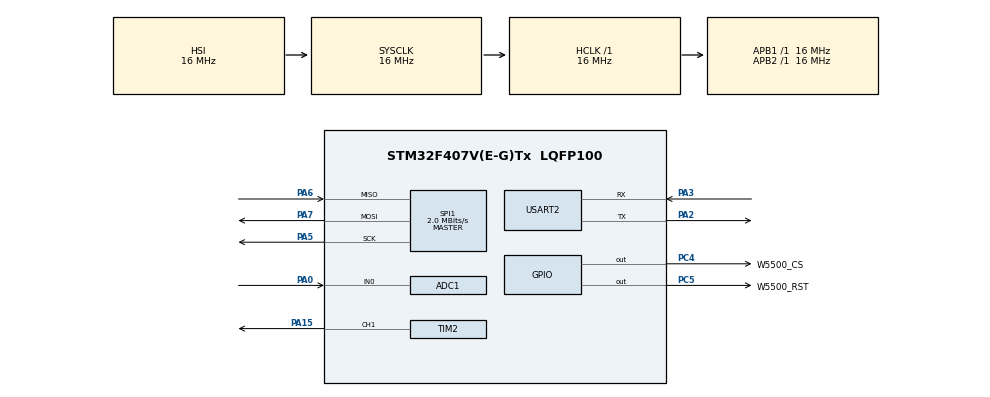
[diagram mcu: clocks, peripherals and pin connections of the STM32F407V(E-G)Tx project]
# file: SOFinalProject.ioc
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ADC1.Channel-1\#ChannelRegularConversion=ADC_CHANNEL_0
ADC1.NbrOfConversionFlag=1
ADC1.Rank-1\#ChannelRegularConversion=1
ADC1.SamplingTime-1\#ChannelRegularConversion=ADC_SAMPLETIME_3CYCLES
ADC1.master=1
FREERTOS.Tasks01=defaultTask,0,128,StartDefaultTask,Default,NULL,Dynamic,NULL,NULL
Mcu.Family=STM32F4
Mcu.Name=STM32F407V(E-G)Tx
Mcu.Package=LQFP100
NVIC.PriorityGroup=NVIC_PRIORITYGROUP_4
PA0-WKUP.Signal=ADCx_IN0
PA15.Signal=S_TIM2_CH1_ETR
PA2.Mode=Asynchronous
PA2.Signal=USART2_TX
PA3.Mode=Asynchronous
PA3.Signal=USART2_RX
PA5.Mode=Full_Duplex_Master
PA5.Signal=SPI1_SCK
PA6.Mode=Full_Duplex_Master
PA6.Signal=SPI1_MISO
PA7.Mode=Full_Duplex_Master
PA7.Signal=SPI1_MOSI
PC4.GPIO_Label=W5500_CS
PC4.Signal=GPIO_Output
PC5.GPIO_Label=W5500_RST
PC5.Signal=GPIO_Output
ProjectManager.HeapSize=0x200
ProjectManager.StackSize=0x400
ProjectManager.TargetToolchain=STM32CubeIDE
RCC.AHBFreq_Value=16000000
RCC.APB1Freq_Value=16000000
RCC.APB2Freq_Value=16000000
RCC.CortexFreq_Value=16000000
RCC.HSE_VALUE=25000000
RCC.HSI_VALUE=16000000
RCC.LSE_VALUE=32768
RCC.SYSCLKFreq_VALUE=16000000
RCC.VCOOutputFreq_Value=192000000
SH.ADCx_IN0.0=ADC1_IN0,IN0
SH.S_TIM2_CH1_ETR.0=TIM2_CH1,PWM Generation1 CH1
SPI1.BaudRatePrescaler=SPI_BAUDRATEPRESCALER_8
SPI1.CalculateBaudRate=2.0 MBits/s
SPI1.Direction=SPI_DIRECTION_2LINES
SPI1.Mode=SPI_MODE_MASTER
SPI1.VirtualType=VM_MASTER
TIM2.Channel-PWM\ Generation1\ CH1=TIM_CHANNEL_1
USART2.VirtualMode=VM_ASYNC
VP_FREERTOS_VS_CMSIS_V1.Mode=CMSIS_V1
board=custom

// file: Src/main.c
/* USER CODE BEGIN Header */
/**
  ******************************************************************************
  * @file           : main.c
  * @brief          : Main program body
  ******************************************************************************
  * @attention
  *
  * Copyright (c) 2025 STMicroelectronics.
  * All rights reserved.
  *
  * This software is licensed under terms that can be found in the LICENSE file
  * in the root directory of this software component.
  * If no LICENSE file comes with this software, it is provided AS-IS.
  *
  ******************************************************************************
  */
/* USER CODE END Header */
#include "main.h"
#include "cmsis_os.h"
#include "adc.h"
#include "spi.h"
#include "tim.h"
#include "usart.h"
#include "gpio.h"

void SystemClock_Config(void);
void MX_FREERTOS_Init(void);

int main(void)
{

  /* MCU Configuration--------------------------------------------------------*/

  /* Reset of all peripherals, Initializes the Flash interface and the Systick. */
  HAL_Init();

  /* USER CODE BEGIN Init */
  // don't buffer the output of printf
  //setbuf(stdout, NULL);
  /* USER CODE END Init */

  /* Configure the system clock */
  SystemClock_Config();

  /* Initialize all configured peripherals */
  MX_GPIO_Init();
  MX_ADC1_Init();
  MX_SPI1_Init();
  MX_TIM2_Init();
  MX_USART2_UART_Init();

  /* Call init function for freertos objects (in cmsis_os2.c) */
  MX_FREERTOS_Init();

  /* Start scheduler */
  osKernelStart();

  /* We should never get here as control is now taken by the scheduler */

  /* Infinite loop */
  while (1)
  {

  }
}

void SystemClock_Config(void)
{
  RCC_OscInitTypeDef RCC_OscInitStruct = {0};
  RCC_ClkInitTypeDef RCC_ClkInitStruct = {0};

  /** Configure the main internal regulator output voltage
  */
  __HAL_RCC_PWR_CLK_ENABLE();
  __HAL_PWR_VOLTAGESCALING_CONFIG(PWR_REGULATOR_VOLTAGE_SCALE1);

  /** Initializes the RCC Oscillators according to the specified parameters
  * in the RCC_OscInitTypeDef structure.
  */
  RCC_OscInitStruct.OscillatorType = RCC_OSCILLATORTYPE_HSI;
  RCC_OscInitStruct.HSIState = RCC_HSI_ON;
  RCC_OscInitStruct.HSICalibrationValue = RCC_HSICALIBRATION_DEFAULT;
  RCC_OscInitStruct.PLL.PLLState = RCC_PLL_NONE;
  if (HAL_RCC_OscConfig(&RCC_OscInitStruct) != HAL_OK)
  {
    Error_Handler();
  }

  /** Initializes the CPU, AHB and APB buses clocks
  */
  RCC_ClkInitStruct.ClockType = RCC_CLOCKTYPE_HCLK|RCC_CLOCKTYPE_SYSCLK
                              |RCC_CLOCKTYPE_PCLK1|RCC_CLOCKTYPE_PCLK2;
  RCC_ClkInitStruct.SYSCLKSource = RCC_SYSCLKSOURCE_HSI;
  RCC_ClkInitStruct.AHBCLKDivider = RCC_SYSCLK_DIV1;
  RCC_ClkInitStruct.APB1CLKDivider = RCC_HCLK_DIV1;
  RCC_ClkInitStruct.APB2CLKDivider = RCC_HCLK_DIV1;

  if (HAL_RCC_ClockConfig(&RCC_ClkInitStruct, FLASH_LATENCY_0) != HAL_OK)
  {
    Error_Handler();
  }
}

void Error_Handler(void)
{
  __disable_irq();
  while (1)
  {
  }
}

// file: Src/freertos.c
/* USER CODE BEGIN Header */
/**
  ******************************************************************************
  * File Name          : freertos.c
  * Description        : Code for freertos applications
  ******************************************************************************
  * @attention
  *
  * Copyright (c) 2024 STMicroelectronics.
  * All rights reserved.
  *
  * This software is licensed under terms that can be found in the LICENSE file
  * in the root directory of this software component.
  * If no LICENSE file comes with this software, it is provided AS-IS.
  *
  ******************************************************************************
  */
/* USER CODE END Header */

#include "FreeRTOS.h"
#include "task.h"
#include "main.h"
#include "cmsis_os.h"

/* USER CODE BEGIN Includes */
#include "wizchip_conf.h"
#include "socket.h"
#include <stdio.h>
#include <string.h>
#include <stdlib.h> // <-- FIX: Adicionado para a função atoi()

/* USER CODE END Includes */

/* USER CODE BEGIN PTD */

// Handles para as Queues do FreeRTOS
QueueHandle_t dutyCycleQueueHandle;
QueueHandle_t adcValueQueueHandle;

// Handle para o Mutex que protegerá o acesso ao socket
SemaphoreHandle_t socketMutexHandle;

// Variável global para compartilhar o estado da conexão
volatile int8_t g_ActiveSocket = -1;

// Handles para os periféricos (declarados em main.c)
extern UART_HandleTypeDef huart2;
extern TIM_HandleTypeDef htim2;
extern ADC_HandleTypeDef hadc1;
extern SPI_HandleTypeDef hspi1; // <-- FIX: Adicionado handle do SPI

/* USER CODE END PTD */

/* USER CODE BEGIN Variables */
osThreadId adcTaskHandle;
osThreadId pwmTaskHandle;
osThreadId rxW5500TaskHandle;
osThreadId txW5500TaskHandle;
/* USER CODE END Variables */
osThreadId defaultTaskHandle;

/* USER CODE BEGIN FunctionPrototypes */
void StartPwmTask(void const * argument);
void StartAdcTask(void const * argument);
void StartRxW5500Task(void const * argument);
void StartTxW5500Task(void const * argument);

// Protótipos para as funções de callback do W5500
void w5500_spi_select(void);
void w5500_spi_deselect(void);
void w5500_spi_write_byte(uint8_t tx_byte);
uint8_t w5500_spi_read_byte(void);
/* USER CODE END FunctionPrototypes */

void StartDefaultTask(void const * argument);

void MX_FREERTOS_Init(void); /* (MISRA C 2004 rule 8.1) */

/* GetIdleTaskMemory prototype (linked to static allocation support) */
void vApplicationGetIdleTaskMemory( StaticTask_t **ppxIdleTaskTCBBuffer, StackType_t **ppxIdleTaskStackBuffer, uint32_t *pulIdleTaskStackSize );

/* USER CODE BEGIN GET_IDLE_TASK_MEMORY */
static StaticTask_t xIdleTaskTCBBuffer;
static StackType_t xIdleStack[configMINIMAL_STACK_SIZE];

void vApplicationGetIdleTaskMemory( StaticTask_t **ppxIdleTaskTCBBuffer, StackType_t **ppxIdleTaskStackBuffer, uint32_t *pulIdleTaskStackSize )
{
  *ppxIdleTaskTCBBuffer = &xIdleTaskTCBBuffer;
  *ppxIdleTaskStackBuffer = &xIdleStack[0];
  *pulIdleTaskStackSize = configMINIMAL_STACK_SIZE;
  /* place for user code */
}
/* USER CODE END GET_IDLE_TASK_MEMORY */

void MX_FREERTOS_Init(void) {
  /* USER CODE BEGIN Init */

  // <-- FIX: As funções de criação devem estar DENTRO de uma função.
  // Criar a fila para receber o novo duty cycle do PC (tamanho 1, para um uint8_t)
  dutyCycleQueueHandle = xQueueCreate(1, sizeof(uint8_t));

  // Criar a fila para enviar o valor do ADC para o PC (tamanho 1, para um uint16_t)
  adcValueQueueHandle = xQueueCreate(1, sizeof(uint16_t));

  /* USER CODE END Init */

  /* Create the mutex(es) */
  /* definition and creation of defaultMutex */
  /* USER CODE BEGIN RTOS_MUTEX */
  // <-- FIX: Criar o Mutex aqui.
  socketMutexHandle = xSemaphoreCreateMutex();
  /* USER CODE END RTOS_MUTEX */

  /* Create the thread(s) */
  /* definition and creation of defaultTask */
  osThreadDef(defaultTask, StartDefaultTask, osPriorityIdle, 0, 128);
  defaultTaskHandle = osThreadCreate(osThread(defaultTask), NULL);

  /* USER CODE BEGIN RTOS_THREADS */
  osThreadDef(pwmTask, StartPwmTask, osPriorityNormal, 0, 128);
  pwmTaskHandle = osThreadCreate(osThread(pwmTask), NULL);

  osThreadDef(adcTask, StartAdcTask, osPriorityNormal, 0, 128);
  adcTaskHandle = osThreadCreate(osThread(adcTask), NULL);

  osThreadDef(rxW5500Task, StartRxW5500Task, osPriorityNormal, 0, 1028);
  rxW5500TaskHandle = osThreadCreate(osThread(rxW5500Task), NULL);

  osThreadDef(txW5500Task, StartTxW5500Task, osPriorityNormal, 0, 512);
  txW5500TaskHandle = osThreadCreate(osThread(txW5500Task), NULL);
  /* USER CODE END RTOS_THREADS */

}

void StartDefaultTask(void const * argument)
{
  for(;;)
  {
    osDelay(1);
  }
}

/* USER CODE BEGIN Application */

// --- Thread do PWM ---
void StartPwmTask(void const * argument) {
    HAL_TIM_PWM_Start(&htim2, TIM_CHANNEL_1);

    uint32_t current_duty_cycle_val = 2100; // Valor inicial para o CCR
    uint8_t new_duty_cycle_percent;

    for(;;) {
        // Verifica se um novo valor (em porcentagem) chegou
        if (xQueueReceive(dutyCycleQueueHandle, &new_duty_cycle_percent, (TickType_t)10) == pdPASS) {
            if (new_duty_cycle_percent > 100) new_duty_cycle_percent = 100;
            // Converte a porcentagem (0-100) para o valor do registrador (0-4199)
            current_duty_cycle_val = (uint32_t)(new_duty_cycle_percent * 41.99);
        }

        __HAL_TIM_SET_COMPARE(&htim2, TIM_CHANNEL_1, current_duty_cycle_val);
        osDelay(20);
    }
}

// --- Thread do ADC ---
void StartAdcTask(void const * argument)
{
    uint16_t adc_value; // O ADC do F4 é de 12 bits, então 16 bits é suficiente
    char msg[32];

    for(;;)
    {
        HAL_ADC_Start(&hadc1);
        if (HAL_ADC_PollForConversion(&hadc1, 100) == HAL_OK)
        {
            adc_value = HAL_ADC_GetValue(&hadc1);

            // Envia o valor para a thread de TX e para a UART de debug
            xQueueSend(adcValueQueueHandle, &adc_value, (TickType_t)10);

            uint8_t duty_cycle_percent = (uint8_t)((adc_value / 4095.0) * 100.0);

            sprintf(msg, "Duty Cicle: %u\r\n", duty_cycle_percent);
            HAL_UART_Transmit(&huart2, (uint8_t*)msg, strlen(msg), 100);
        }
        HAL_ADC_Stop(&hadc1);

        osDelay(pdMS_TO_TICKS(500)); // Lê a cada 500ms
    }
}

// --- Thread de RX (Recebimento) da Ethernet ---
// <-- FIX: Lógica corrigida para ser a de RX
void StartRxW5500Task(void const * argument) {
    // 1. Inicialização do W5500
    HAL_GPIO_WritePin(W5500_RST_GPIO_Port, W5500_RST_Pin, GPIO_PIN_SET);
    reg_wizchip_cs_cbfunc(w5500_spi_select, w5500_spi_deselect);
    reg_wizchip_spi_cbfunc(w5500_spi_read_byte, w5500_spi_write_byte);

    wiz_NetInfo net_info = {
        .mac = {0x00, 0x08, 0xDC, 0x12, 0x34, 0x56},
        .ip = {192, 168, 18, 177},
        .sn = {255, 255, 255, 0},
        .gw = {192, 168, 18, 1}
    };
    wizchip_init(NULL, NULL);
    wizchip_setnetinfo(&net_info);

    uint8_t rx_buffer[2048];
    uint8_t socket_num = 0;
    uint16_t port = 7;

    for(;;) {
        switch(getSn_SR(socket_num)) {
            case SOCK_INIT:
                listen(socket_num);
                break;
            case SOCK_ESTABLISHED:
                if(g_ActiveSocket == -1) {
                    if(xSemaphoreTake(socketMutexHandle, (TickType_t)10) == pdTRUE) {
                        g_ActiveSocket = socket_num;
                        xSemaphoreGive(socketMutexHandle);
                    }
                }
                int32_t len = getSn_RX_RSR(socket_num);
                if(len > 0) {
                    len = recv(socket_num, rx_buffer, sizeof(rx_buffer));
                    if(len > 0) {
                        uint8_t new_duty_cycle = (uint8_t)atoi((const char*)rx_buffer);
                        xQueueSend(dutyCycleQueueHandle, &new_duty_cycle, (TickType_t)10);
                    }
                }
                break;
            case SOCK_CLOSE_WAIT:
                disconnect(socket_num);
                break;
            case SOCK_CLOSED:
                if(g_ActiveSocket != -1) {
                    if(xSemaphoreTake(socketMutexHandle, (TickType_t)10) == pdTRUE) {
                        g_ActiveSocket = -1;
                        xSemaphoreGive(socketMutexHandle);
                    }
                }
                socket(socket_num, Sn_MR_TCP, port, 0);
                break;
            default:
                break;
        }
        osDelay(20);
    }
}

// --- Thread de TX (Transmissão) da Ethernet ---
// <-- FIX: Lógica corrigida para ser a de TX
void StartTxW5500Task(void const * argument) {
  uint16_t adc_val;
  int8_t current_socket = -1;

  for(;;) {
      // Espera bloqueante por um novo valor do ADC (isso não muda)
      if (xQueueReceive(adcValueQueueHandle, &adc_val, portMAX_DELAY) == pdPASS) {

          // Converte o valor do ADC (0-4095) para porcentagem (0-100)
          // Usamos 4095.0 para forçar a conta a ser feita com ponto flutuante
          uint8_t duty_cycle_percent = (uint8_t)((adc_val / 4095.0) * 100.0);

          if(xSemaphoreTake(socketMutexHandle, (TickType_t)10) == pdTRUE) {
              current_socket = g_ActiveSocket;
              xSemaphoreGive(socketMutexHandle);
          }
          if(current_socket != -1) {
              char tx_buffer[20]; // Aumente um pouco o buffer por segurança
              // Formata a string para enviar a porcentagem calculada
              sprintf(tx_buffer, "Leitura: %u%%\r\n", duty_cycle_percent);
              send(current_socket, (uint8_t*)tx_buffer, strlen(tx_buffer));
          }
      }
    }
}

// --- Funções de Callback para o Driver W5500 ---
void w5500_spi_select(void) {
    HAL_GPIO_WritePin(W5500_CS_GPIO_Port, W5500_CS_Pin, GPIO_PIN_RESET);
}

void w5500_spi_deselect(void) {
    HAL_GPIO_WritePin(W5500_CS_GPIO_Port, W5500_CS_Pin, GPIO_PIN_SET);
}

void w5500_spi_write_byte(uint8_t tx_byte) {
    HAL_SPI_Transmit(&hspi1, &tx_byte, 1, HAL_MAX_DELAY);
}

uint8_t w5500_spi_read_byte(void) {
    uint8_t rx_byte;
    HAL_SPI_Receive(&hspi1, &rx_byte, 1, HAL_MAX_DELAY);
    return rx_byte;
}

/* USER CODE END Application */
